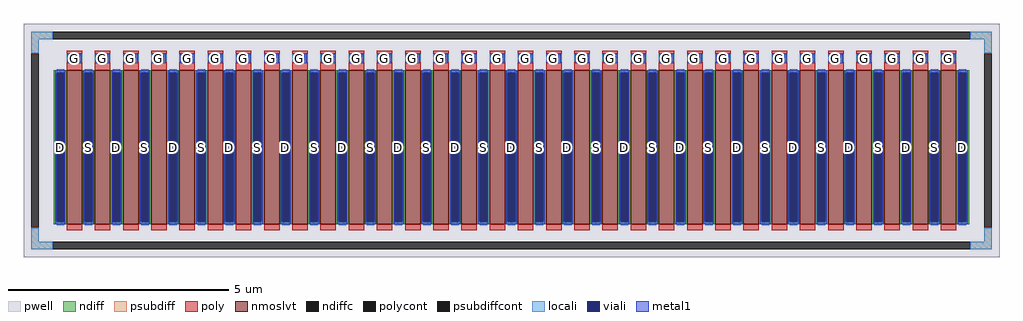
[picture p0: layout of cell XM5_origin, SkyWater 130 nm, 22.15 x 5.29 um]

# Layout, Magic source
magic
tech sky130A
magscale 1 2
<< pwell >>
rect -2215 -529 2215 529
<< nmoslvt >>
rect -2019 -381 -1949 319
rect -1891 -381 -1821 319
rect -1763 -381 -1693 319
rect -1635 -381 -1565 319
rect -1507 -381 -1437 319
rect -1379 -381 -1309 319
rect -1251 -381 -1181 319
rect -1123 -381 -1053 319
rect -995 -381 -925 319
rect -867 -381 -797 319
rect -739 -381 -669 319
rect -611 -381 -541 319
rect -483 -381 -413 319
rect -355 -381 -285 319
rect -227 -381 -157 319
rect -99 -381 -29 319
rect 29 -381 99 319
rect 157 -381 227 319
rect 285 -381 355 319
rect 413 -381 483 319
rect 541 -381 611 319
rect 669 -381 739 319
rect 797 -381 867 319
rect 925 -381 995 319
rect 1053 -381 1123 319
rect 1181 -381 1251 319
rect 1309 -381 1379 319
rect 1437 -381 1507 319
rect 1565 -381 1635 319
rect 1693 -381 1763 319
rect 1821 -381 1891 319
rect 1949 -381 2019 319
<< ndiff >>
rect -2077 307 -2019 319
rect -2077 -369 -2065 307
rect -2031 -369 -2019 307
rect -2077 -381 -2019 -369
rect -1949 307 -1891 319
rect -1949 -369 -1937 307
rect -1903 -369 -1891 307
rect -1949 -381 -1891 -369
rect -1821 307 -1763 319
rect -1821 -369 -1809 307
rect -1775 -369 -1763 307
rect -1821 -381 -1763 -369
rect -1693 307 -1635 319
rect -1693 -369 -1681 307
rect -1647 -369 -1635 307
rect -1693 -381 -1635 -369
rect -1565 307 -1507 319
rect -1565 -369 -1553 307
rect -1519 -369 -1507 307
rect -1565 -381 -1507 -369
rect -1437 307 -1379 319
rect -1437 -369 -1425 307
rect -1391 -369 -1379 307
rect -1437 -381 -1379 -369
rect -1309 307 -1251 319
rect -1309 -369 -1297 307
rect -1263 -369 -1251 307
rect -1309 -381 -1251 -369
rect -1181 307 -1123 319
rect -1181 -369 -1169 307
rect -1135 -369 -1123 307
rect -1181 -381 -1123 -369
rect -1053 307 -995 319
rect -1053 -369 -1041 307
rect -1007 -369 -995 307
rect -1053 -381 -995 -369
rect -925 307 -867 319
rect -925 -369 -913 307
rect -879 -369 -867 307
rect -925 -381 -867 -369
rect -797 307 -739 319
rect -797 -369 -785 307
rect -751 -369 -739 307
rect -797 -381 -739 -369
rect -669 307 -611 319
rect -669 -369 -657 307
rect -623 -369 -611 307
rect -669 -381 -611 -369
rect -541 307 -483 319
rect -541 -369 -529 307
rect -495 -369 -483 307
rect -541 -381 -483 -369
rect -413 307 -355 319
rect -413 -369 -401 307
rect -367 -369 -355 307
rect -413 -381 -355 -369
rect -285 307 -227 319
rect -285 -369 -273 307
rect -239 -369 -227 307
rect -285 -381 -227 -369
rect -157 307 -99 319
rect -157 -369 -145 307
rect -111 -369 -99 307
rect -157 -381 -99 -369
rect -29 307 29 319
rect -29 -369 -17 307
rect 17 -369 29 307
rect -29 -381 29 -369
rect 99 307 157 319
rect 99 -369 111 307
rect 145 -369 157 307
rect 99 -381 157 -369
rect 227 307 285 319
rect 227 -369 239 307
rect 273 -369 285 307
rect 227 -381 285 -369
rect 355 307 413 319
rect 355 -369 367 307
rect 401 -369 413 307
rect 355 -381 413 -369
rect 483 307 541 319
rect 483 -369 495 307
rect 529 -369 541 307
rect 483 -381 541 -369
rect 611 307 669 319
rect 611 -369 623 307
rect 657 -369 669 307
rect 611 -381 669 -369
rect 739 307 797 319
rect 739 -369 751 307
rect 785 -369 797 307
rect 739 -381 797 -369
rect 867 307 925 319
rect 867 -369 879 307
rect 913 -369 925 307
rect 867 -381 925 -369
rect 995 307 1053 319
rect 995 -369 1007 307
rect 1041 -369 1053 307
rect 995 -381 1053 -369
rect 1123 307 1181 319
rect 1123 -369 1135 307
rect 1169 -369 1181 307
rect 1123 -381 1181 -369
rect 1251 307 1309 319
rect 1251 -369 1263 307
rect 1297 -369 1309 307
rect 1251 -381 1309 -369
rect 1379 307 1437 319
rect 1379 -369 1391 307
rect 1425 -369 1437 307
rect 1379 -381 1437 -369
rect 1507 307 1565 319
rect 1507 -369 1519 307
rect 1553 -369 1565 307
rect 1507 -381 1565 -369
rect 1635 307 1693 319
rect 1635 -369 1647 307
rect 1681 -369 1693 307
rect 1635 -381 1693 -369
rect 1763 307 1821 319
rect 1763 -369 1775 307
rect 1809 -369 1821 307
rect 1763 -381 1821 -369
rect 1891 307 1949 319
rect 1891 -369 1903 307
rect 1937 -369 1949 307
rect 1891 -381 1949 -369
rect 2019 307 2077 319
rect 2019 -369 2031 307
rect 2065 -369 2077 307
rect 2019 -381 2077 -369
<< ndiffc >>
rect -2065 -369 -2031 307
rect -1937 -369 -1903 307
rect -1809 -369 -1775 307
rect -1681 -369 -1647 307
rect -1553 -369 -1519 307
rect -1425 -369 -1391 307
rect -1297 -369 -1263 307
rect -1169 -369 -1135 307
rect -1041 -369 -1007 307
rect -913 -369 -879 307
rect -785 -369 -751 307
rect -657 -369 -623 307
rect -529 -369 -495 307
rect -401 -369 -367 307
rect -273 -369 -239 307
rect -145 -369 -111 307
rect -17 -369 17 307
rect 111 -369 145 307
rect 239 -369 273 307
rect 367 -369 401 307
rect 495 -369 529 307
rect 623 -369 657 307
rect 751 -369 785 307
rect 879 -369 913 307
rect 1007 -369 1041 307
rect 1135 -369 1169 307
rect 1263 -369 1297 307
rect 1391 -369 1425 307
rect 1519 -369 1553 307
rect 1647 -369 1681 307
rect 1775 -369 1809 307
rect 1903 -369 1937 307
rect 2031 -369 2065 307
<< psubdiff >>
rect -2179 459 -2083 493
rect 2083 459 2179 493
rect -2179 397 -2145 459
rect 2145 397 2179 459
rect -2179 -459 -2145 -397
rect 2145 -459 2179 -397
rect -2179 -493 -2083 -459
rect 2083 -493 2179 -459
<< psubdiffcont >>
rect -2083 459 2083 493
rect -2179 -397 -2145 397
rect 2145 -397 2179 397
rect -2083 -493 2083 -459
<< poly >>
rect -2019 391 -1949 407
rect -2019 357 -2003 391
rect -1965 357 -1949 391
rect -2019 319 -1949 357
rect -1891 391 -1821 407
rect -1891 357 -1875 391
rect -1837 357 -1821 391
rect -1891 319 -1821 357
rect -1763 391 -1693 407
rect -1763 357 -1747 391
rect -1709 357 -1693 391
rect -1763 319 -1693 357
rect -1635 391 -1565 407
rect -1635 357 -1619 391
rect -1581 357 -1565 391
rect -1635 319 -1565 357
rect -1507 391 -1437 407
rect -1507 357 -1491 391
rect -1453 357 -1437 391
rect -1507 319 -1437 357
rect -1379 391 -1309 407
rect -1379 357 -1363 391
rect -1325 357 -1309 391
rect -1379 319 -1309 357
rect -1251 391 -1181 407
rect -1251 357 -1235 391
rect -1197 357 -1181 391
rect -1251 319 -1181 357
rect -1123 391 -1053 407
rect -1123 357 -1107 391
rect -1069 357 -1053 391
rect -1123 319 -1053 357
rect -995 391 -925 407
rect -995 357 -979 391
rect -941 357 -925 391
rect -995 319 -925 357
rect -867 391 -797 407
rect -867 357 -851 391
rect -813 357 -797 391
rect -867 319 -797 357
rect -739 391 -669 407
rect -739 357 -723 391
rect -685 357 -669 391
rect -739 319 -669 357
rect -611 391 -541 407
rect -611 357 -595 391
rect -557 357 -541 391
rect -611 319 -541 357
rect -483 391 -413 407
rect -483 357 -467 391
rect -429 357 -413 391
rect -483 319 -413 357
rect -355 391 -285 407
rect -355 357 -339 391
rect -301 357 -285 391
rect -355 319 -285 357
rect -227 391 -157 407
rect -227 357 -211 391
rect -173 357 -157 391
rect -227 319 -157 357
rect -99 391 -29 407
rect -99 357 -83 391
rect -45 357 -29 391
rect -99 319 -29 357
rect 29 391 99 407
rect 29 357 45 391
rect 83 357 99 391
rect 29 319 99 357
rect 157 391 227 407
rect 157 357 173 391
rect 211 357 227 391
rect 157 319 227 357
rect 285 391 355 407
rect 285 357 301 391
rect 339 357 355 391
rect 285 319 355 357
rect 413 391 483 407
rect 413 357 429 391
rect 467 357 483 391
rect 413 319 483 357
rect 541 391 611 407
rect 541 357 557 391
rect 595 357 611 391
rect 541 319 611 357
rect 669 391 739 407
rect 669 357 685 391
rect 723 357 739 391
rect 669 319 739 357
rect 797 391 867 407
rect 797 357 813 391
rect 851 357 867 391
rect 797 319 867 357
rect 925 391 995 407
rect 925 357 941 391
rect 979 357 995 391
rect 925 319 995 357
rect 1053 391 1123 407
rect 1053 357 1069 391
rect 1107 357 1123 391
rect 1053 319 1123 357
rect 1181 391 1251 407
rect 1181 357 1197 391
rect 1235 357 1251 391
rect 1181 319 1251 357
rect 1309 391 1379 407
rect 1309 357 1325 391
rect 1363 357 1379 391
rect 1309 319 1379 357
rect 1437 391 1507 407
rect 1437 357 1453 391
rect 1491 357 1507 391
rect 1437 319 1507 357
rect 1565 391 1635 407
rect 1565 357 1581 391
rect 1619 357 1635 391
rect 1565 319 1635 357
rect 1693 391 1763 407
rect 1693 357 1709 391
rect 1747 357 1763 391
rect 1693 319 1763 357
rect 1821 391 1891 407
rect 1821 357 1837 391
rect 1875 357 1891 391
rect 1821 319 1891 357
rect 1949 391 2019 407
rect 1949 357 1965 391
rect 2003 357 2019 391
rect 1949 319 2019 357
rect -2019 -407 -1949 -381
rect -1891 -407 -1821 -381
rect -1763 -407 -1693 -381
rect -1635 -407 -1565 -381
rect -1507 -407 -1437 -381
rect -1379 -407 -1309 -381
rect -1251 -407 -1181 -381
rect -1123 -407 -1053 -381
rect -995 -407 -925 -381
rect -867 -407 -797 -381
rect -739 -407 -669 -381
rect -611 -407 -541 -381
rect -483 -407 -413 -381
rect -355 -407 -285 -381
rect -227 -407 -157 -381
rect -99 -407 -29 -381
rect 29 -407 99 -381
rect 157 -407 227 -381
rect 285 -407 355 -381
rect 413 -407 483 -381
rect 541 -407 611 -381
rect 669 -407 739 -381
rect 797 -407 867 -381
rect 925 -407 995 -381
rect 1053 -407 1123 -381
rect 1181 -407 1251 -381
rect 1309 -407 1379 -381
rect 1437 -407 1507 -381
rect 1565 -407 1635 -381
rect 1693 -407 1763 -381
rect 1821 -407 1891 -381
rect 1949 -407 2019 -381
<< polycont >>
rect -2003 357 -1965 391
rect -1875 357 -1837 391
rect -1747 357 -1709 391
rect -1619 357 -1581 391
rect -1491 357 -1453 391
rect -1363 357 -1325 391
rect -1235 357 -1197 391
rect -1107 357 -1069 391
rect -979 357 -941 391
rect -851 357 -813 391
rect -723 357 -685 391
rect -595 357 -557 391
rect -467 357 -429 391
rect -339 357 -301 391
rect -211 357 -173 391
rect -83 357 -45 391
rect 45 357 83 391
rect 173 357 211 391
rect 301 357 339 391
rect 429 357 467 391
rect 557 357 595 391
rect 685 357 723 391
rect 813 357 851 391
rect 941 357 979 391
rect 1069 357 1107 391
rect 1197 357 1235 391
rect 1325 357 1363 391
rect 1453 357 1491 391
rect 1581 357 1619 391
rect 1709 357 1747 391
rect 1837 357 1875 391
rect 1965 357 2003 391
<< locali >>
rect -2179 459 -2083 493
rect 2083 459 2179 493
rect -2179 397 -2145 459
rect 2145 397 2179 459
rect -2019 357 -2003 391
rect -1965 357 -1949 391
rect -1891 357 -1875 391
rect -1837 357 -1821 391
rect -1763 357 -1747 391
rect -1709 357 -1693 391
rect -1635 357 -1619 391
rect -1581 357 -1565 391
rect -1507 357 -1491 391
rect -1453 357 -1437 391
rect -1379 357 -1363 391
rect -1325 357 -1309 391
rect -1251 357 -1235 391
rect -1197 357 -1181 391
rect -1123 357 -1107 391
rect -1069 357 -1053 391
rect -995 357 -979 391
rect -941 357 -925 391
rect -867 357 -851 391
rect -813 357 -797 391
rect -739 357 -723 391
rect -685 357 -669 391
rect -611 357 -595 391
rect -557 357 -541 391
rect -483 357 -467 391
rect -429 357 -413 391
rect -355 357 -339 391
rect -301 357 -285 391
rect -227 357 -211 391
rect -173 357 -157 391
rect -99 357 -83 391
rect -45 357 -29 391
rect 29 357 45 391
rect 83 357 99 391
rect 157 357 173 391
rect 211 357 227 391
rect 285 357 301 391
rect 339 357 355 391
rect 413 357 429 391
rect 467 357 483 391
rect 541 357 557 391
rect 595 357 611 391
rect 669 357 685 391
rect 723 357 739 391
rect 797 357 813 391
rect 851 357 867 391
rect 925 357 941 391
rect 979 357 995 391
rect 1053 357 1069 391
rect 1107 357 1123 391
rect 1181 357 1197 391
rect 1235 357 1251 391
rect 1309 357 1325 391
rect 1363 357 1379 391
rect 1437 357 1453 391
rect 1491 357 1507 391
rect 1565 357 1581 391
rect 1619 357 1635 391
rect 1693 357 1709 391
rect 1747 357 1763 391
rect 1821 357 1837 391
rect 1875 357 1891 391
rect 1949 357 1965 391
rect 2003 357 2019 391
rect -2065 307 -2031 323
rect -2065 -385 -2031 -369
rect -1937 307 -1903 323
rect -1937 -385 -1903 -369
rect -1809 307 -1775 323
rect -1809 -385 -1775 -369
rect -1681 307 -1647 323
rect -1681 -385 -1647 -369
rect -1553 307 -1519 323
rect -1553 -385 -1519 -369
rect -1425 307 -1391 323
rect -1425 -385 -1391 -369
rect -1297 307 -1263 323
rect -1297 -385 -1263 -369
rect -1169 307 -1135 323
rect -1169 -385 -1135 -369
rect -1041 307 -1007 323
rect -1041 -385 -1007 -369
rect -913 307 -879 323
rect -913 -385 -879 -369
rect -785 307 -751 323
rect -785 -385 -751 -369
rect -657 307 -623 323
rect -657 -385 -623 -369
rect -529 307 -495 323
rect -529 -385 -495 -369
rect -401 307 -367 323
rect -401 -385 -367 -369
rect -273 307 -239 323
rect -273 -385 -239 -369
rect -145 307 -111 323
rect -145 -385 -111 -369
rect -17 307 17 323
rect -17 -385 17 -369
rect 111 307 145 323
rect 111 -385 145 -369
rect 239 307 273 323
rect 239 -385 273 -369
rect 367 307 401 323
rect 367 -385 401 -369
rect 495 307 529 323
rect 495 -385 529 -369
rect 623 307 657 323
rect 623 -385 657 -369
rect 751 307 785 323
rect 751 -385 785 -369
rect 879 307 913 323
rect 879 -385 913 -369
rect 1007 307 1041 323
rect 1007 -385 1041 -369
rect 1135 307 1169 323
rect 1135 -385 1169 -369
rect 1263 307 1297 323
rect 1263 -385 1297 -369
rect 1391 307 1425 323
rect 1391 -385 1425 -369
rect 1519 307 1553 323
rect 1519 -385 1553 -369
rect 1647 307 1681 323
rect 1647 -385 1681 -369
rect 1775 307 1809 323
rect 1775 -385 1809 -369
rect 1903 307 1937 323
rect 1903 -385 1937 -369
rect 2031 307 2065 323
rect 2031 -385 2065 -369
rect -2179 -459 -2145 -397
rect 2145 -459 2179 -397
rect -2179 -493 -2083 -459
rect 2083 -493 2179 -459
<< viali >>
rect -2003 357 -1965 391
rect -1875 357 -1837 391
rect -1747 357 -1709 391
rect -1619 357 -1581 391
rect -1491 357 -1453 391
rect -1363 357 -1325 391
rect -1235 357 -1197 391
rect -1107 357 -1069 391
rect -979 357 -941 391
rect -851 357 -813 391
rect -723 357 -685 391
rect -595 357 -557 391
rect -467 357 -429 391
rect -339 357 -301 391
rect -211 357 -173 391
rect -83 357 -45 391
rect 45 357 83 391
rect 173 357 211 391
rect 301 357 339 391
rect 429 357 467 391
rect 557 357 595 391
rect 685 357 723 391
rect 813 357 851 391
rect 941 357 979 391
rect 1069 357 1107 391
rect 1197 357 1235 391
rect 1325 357 1363 391
rect 1453 357 1491 391
rect 1581 357 1619 391
rect 1709 357 1747 391
rect 1837 357 1875 391
rect 1965 357 2003 391
rect -2065 -369 -2031 307
rect -1937 -369 -1903 307
rect -1809 -369 -1775 307
rect -1681 -369 -1647 307
rect -1553 -369 -1519 307
rect -1425 -369 -1391 307
rect -1297 -369 -1263 307
rect -1169 -369 -1135 307
rect -1041 -369 -1007 307
rect -913 -369 -879 307
rect -785 -369 -751 307
rect -657 -369 -623 307
rect -529 -369 -495 307
rect -401 -369 -367 307
rect -273 -369 -239 307
rect -145 -369 -111 307
rect -17 -369 17 307
rect 111 -369 145 307
rect 239 -369 273 307
rect 367 -369 401 307
rect 495 -369 529 307
rect 623 -369 657 307
rect 751 -369 785 307
rect 879 -369 913 307
rect 1007 -369 1041 307
rect 1135 -369 1169 307
rect 1263 -369 1297 307
rect 1391 -369 1425 307
rect 1519 -369 1553 307
rect 1647 -369 1681 307
rect 1775 -369 1809 307
rect 1903 -369 1937 307
rect 2031 -369 2065 307
<< metal1 >>
rect -2015 391 -1953 397
rect -2015 357 -2003 391
rect -1965 357 -1953 391
rect -2015 351 -1953 357
rect -1887 391 -1825 397
rect -1887 357 -1875 391
rect -1837 357 -1825 391
rect -1887 351 -1825 357
rect -1759 391 -1697 397
rect -1759 357 -1747 391
rect -1709 357 -1697 391
rect -1759 351 -1697 357
rect -1631 391 -1569 397
rect -1631 357 -1619 391
rect -1581 357 -1569 391
rect -1631 351 -1569 357
rect -1503 391 -1441 397
rect -1503 357 -1491 391
rect -1453 357 -1441 391
rect -1503 351 -1441 357
rect -1375 391 -1313 397
rect -1375 357 -1363 391
rect -1325 357 -1313 391
rect -1375 351 -1313 357
rect -1247 391 -1185 397
rect -1247 357 -1235 391
rect -1197 357 -1185 391
rect -1247 351 -1185 357
rect -1119 391 -1057 397
rect -1119 357 -1107 391
rect -1069 357 -1057 391
rect -1119 351 -1057 357
rect -991 391 -929 397
rect -991 357 -979 391
rect -941 357 -929 391
rect -991 351 -929 357
rect -863 391 -801 397
rect -863 357 -851 391
rect -813 357 -801 391
rect -863 351 -801 357
rect -735 391 -673 397
rect -735 357 -723 391
rect -685 357 -673 391
rect -735 351 -673 357
rect -607 391 -545 397
rect -607 357 -595 391
rect -557 357 -545 391
rect -607 351 -545 357
rect -479 391 -417 397
rect -479 357 -467 391
rect -429 357 -417 391
rect -479 351 -417 357
rect -351 391 -289 397
rect -351 357 -339 391
rect -301 357 -289 391
rect -351 351 -289 357
rect -223 391 -161 397
rect -223 357 -211 391
rect -173 357 -161 391
rect -223 351 -161 357
rect -95 391 -33 397
rect -95 357 -83 391
rect -45 357 -33 391
rect -95 351 -33 357
rect 33 391 95 397
rect 33 357 45 391
rect 83 357 95 391
rect 33 351 95 357
rect 161 391 223 397
rect 161 357 173 391
rect 211 357 223 391
rect 161 351 223 357
rect 289 391 351 397
rect 289 357 301 391
rect 339 357 351 391
rect 289 351 351 357
rect 417 391 479 397
rect 417 357 429 391
rect 467 357 479 391
rect 417 351 479 357
rect 545 391 607 397
rect 545 357 557 391
rect 595 357 607 391
rect 545 351 607 357
rect 673 391 735 397
rect 673 357 685 391
rect 723 357 735 391
rect 673 351 735 357
rect 801 391 863 397
rect 801 357 813 391
rect 851 357 863 391
rect 801 351 863 357
rect 929 391 991 397
rect 929 357 941 391
rect 979 357 991 391
rect 929 351 991 357
rect 1057 391 1119 397
rect 1057 357 1069 391
rect 1107 357 1119 391
rect 1057 351 1119 357
rect 1185 391 1247 397
rect 1185 357 1197 391
rect 1235 357 1247 391
rect 1185 351 1247 357
rect 1313 391 1375 397
rect 1313 357 1325 391
rect 1363 357 1375 391
rect 1313 351 1375 357
rect 1441 391 1503 397
rect 1441 357 1453 391
rect 1491 357 1503 391
rect 1441 351 1503 357
rect 1569 391 1631 397
rect 1569 357 1581 391
rect 1619 357 1631 391
rect 1569 351 1631 357
rect 1697 391 1759 397
rect 1697 357 1709 391
rect 1747 357 1759 391
rect 1697 351 1759 357
rect 1825 391 1887 397
rect 1825 357 1837 391
rect 1875 357 1887 391
rect 1825 351 1887 357
rect 1953 391 2015 397
rect 1953 357 1965 391
rect 2003 357 2015 391
rect 1953 351 2015 357
rect -2071 307 -2025 319
rect -2071 -369 -2065 307
rect -2031 -369 -2025 307
rect -2071 -381 -2025 -369
rect -1943 307 -1897 319
rect -1943 -369 -1937 307
rect -1903 -369 -1897 307
rect -1943 -381 -1897 -369
rect -1815 307 -1769 319
rect -1815 -369 -1809 307
rect -1775 -369 -1769 307
rect -1815 -381 -1769 -369
rect -1687 307 -1641 319
rect -1687 -369 -1681 307
rect -1647 -369 -1641 307
rect -1687 -381 -1641 -369
rect -1559 307 -1513 319
rect -1559 -369 -1553 307
rect -1519 -369 -1513 307
rect -1559 -381 -1513 -369
rect -1431 307 -1385 319
rect -1431 -369 -1425 307
rect -1391 -369 -1385 307
rect -1431 -381 -1385 -369
rect -1303 307 -1257 319
rect -1303 -369 -1297 307
rect -1263 -369 -1257 307
rect -1303 -381 -1257 -369
rect -1175 307 -1129 319
rect -1175 -369 -1169 307
rect -1135 -369 -1129 307
rect -1175 -381 -1129 -369
rect -1047 307 -1001 319
rect -1047 -369 -1041 307
rect -1007 -369 -1001 307
rect -1047 -381 -1001 -369
rect -919 307 -873 319
rect -919 -369 -913 307
rect -879 -369 -873 307
rect -919 -381 -873 -369
rect -791 307 -745 319
rect -791 -369 -785 307
rect -751 -369 -745 307
rect -791 -381 -745 -369
rect -663 307 -617 319
rect -663 -369 -657 307
rect -623 -369 -617 307
rect -663 -381 -617 -369
rect -535 307 -489 319
rect -535 -369 -529 307
rect -495 -369 -489 307
rect -535 -381 -489 -369
rect -407 307 -361 319
rect -407 -369 -401 307
rect -367 -369 -361 307
rect -407 -381 -361 -369
rect -279 307 -233 319
rect -279 -369 -273 307
rect -239 -369 -233 307
rect -279 -381 -233 -369
rect -151 307 -105 319
rect -151 -369 -145 307
rect -111 -369 -105 307
rect -151 -381 -105 -369
rect -23 307 23 319
rect -23 -369 -17 307
rect 17 -369 23 307
rect -23 -381 23 -369
rect 105 307 151 319
rect 105 -369 111 307
rect 145 -369 151 307
rect 105 -381 151 -369
rect 233 307 279 319
rect 233 -369 239 307
rect 273 -369 279 307
rect 233 -381 279 -369
rect 361 307 407 319
rect 361 -369 367 307
rect 401 -369 407 307
rect 361 -381 407 -369
rect 489 307 535 319
rect 489 -369 495 307
rect 529 -369 535 307
rect 489 -381 535 -369
rect 617 307 663 319
rect 617 -369 623 307
rect 657 -369 663 307
rect 617 -381 663 -369
rect 745 307 791 319
rect 745 -369 751 307
rect 785 -369 791 307
rect 745 -381 791 -369
rect 873 307 919 319
rect 873 -369 879 307
rect 913 -369 919 307
rect 873 -381 919 -369
rect 1001 307 1047 319
rect 1001 -369 1007 307
rect 1041 -369 1047 307
rect 1001 -381 1047 -369
rect 1129 307 1175 319
rect 1129 -369 1135 307
rect 1169 -369 1175 307
rect 1129 -381 1175 -369
rect 1257 307 1303 319
rect 1257 -369 1263 307
rect 1297 -369 1303 307
rect 1257 -381 1303 -369
rect 1385 307 1431 319
rect 1385 -369 1391 307
rect 1425 -369 1431 307
rect 1385 -381 1431 -369
rect 1513 307 1559 319
rect 1513 -369 1519 307
rect 1553 -369 1559 307
rect 1513 -381 1559 -369
rect 1641 307 1687 319
rect 1641 -369 1647 307
rect 1681 -369 1687 307
rect 1641 -381 1687 -369
rect 1769 307 1815 319
rect 1769 -369 1775 307
rect 1809 -369 1815 307
rect 1769 -381 1815 -369
rect 1897 307 1943 319
rect 1897 -369 1903 307
rect 1937 -369 1943 307
rect 1897 -381 1943 -369
rect 2025 307 2071 319
rect 2025 -369 2031 307
rect 2065 -369 2071 307
rect 2025 -381 2071 -369
<< labels >>
flabel metal1 -1984 374 -1984 374 0 FreeSans 240 0 0 0 G
flabel metal1 -1855 374 -1855 374 0 FreeSans 240 0 0 0 G
flabel metal1 -1728 374 -1728 374 0 FreeSans 240 0 0 0 G
flabel metal1 -1600 374 -1600 374 0 FreeSans 240 0 0 0 G
flabel metal1 -1472 374 -1472 374 0 FreeSans 240 0 0 0 G
flabel metal1 -1344 374 -1344 374 0 FreeSans 240 0 0 0 G
flabel metal1 -1216 374 -1216 374 0 FreeSans 240 0 0 0 G
flabel metal1 -1088 374 -1088 374 0 FreeSans 240 0 0 0 G
flabel metal1 -960 374 -960 374 0 FreeSans 240 0 0 0 G
flabel metal1 -832 374 -832 374 0 FreeSans 240 0 0 0 G
flabel metal1 -704 374 -704 374 0 FreeSans 240 0 0 0 G
flabel metal1 -576 374 -576 374 0 FreeSans 240 0 0 0 G
flabel metal1 -448 374 -448 374 0 FreeSans 240 0 0 0 G
flabel metal1 -320 374 -320 374 0 FreeSans 240 0 0 0 G
flabel metal1 -192 374 -192 374 0 FreeSans 240 0 0 0 G
flabel metal1 -64 374 -64 374 0 FreeSans 240 0 0 0 G
flabel metal1 64 374 64 374 0 FreeSans 240 0 0 0 G
flabel metal1 192 374 192 374 0 FreeSans 240 0 0 0 G
flabel metal1 320 374 320 374 0 FreeSans 240 0 0 0 G
flabel metal1 448 374 448 374 0 FreeSans 240 0 0 0 G
flabel metal1 576 374 576 374 0 FreeSans 240 0 0 0 G
flabel metal1 704 374 704 374 0 FreeSans 240 0 0 0 G
flabel metal1 832 374 832 374 0 FreeSans 240 0 0 0 G
flabel metal1 960 374 960 374 0 FreeSans 240 0 0 0 G
flabel metal1 1088 374 1088 374 0 FreeSans 240 0 0 0 G
flabel metal1 1216 374 1216 374 0 FreeSans 240 0 0 0 G
flabel metal1 1344 374 1344 374 0 FreeSans 240 0 0 0 G
flabel metal1 1472 374 1472 374 0 FreeSans 240 0 0 0 G
flabel metal1 1600 374 1600 374 0 FreeSans 240 0 0 0 G
flabel metal1 1728 374 1728 374 0 FreeSans 240 0 0 0 G
flabel metal1 1855 374 1855 374 0 FreeSans 240 0 0 0 G
flabel metal1 1984 374 1984 374 0 FreeSans 240 0 0 0 G
flabel metal1 -2048 -31 -2048 -31 0 FreeSans 240 0 0 0 D
flabel metal1 -1920 -31 -1920 -31 0 FreeSans 240 0 0 0 S
flabel metal1 -1792 -31 -1792 -31 0 FreeSans 240 0 0 0 D
flabel metal1 -1664 -31 -1664 -31 0 FreeSans 240 0 0 0 S
flabel metal1 -1536 -31 -1536 -31 0 FreeSans 240 0 0 0 D
flabel metal1 -1408 -31 -1408 -31 0 FreeSans 240 0 0 0 S
flabel metal1 -1280 -31 -1280 -31 0 FreeSans 240 0 0 0 D
flabel metal1 -1152 -31 -1152 -31 0 FreeSans 240 0 0 0 S
flabel metal1 -1024 -31 -1024 -31 0 FreeSans 240 0 0 0 D
flabel metal1 -896 -31 -896 -31 0 FreeSans 240 0 0 0 S
flabel metal1 -768 -31 -768 -31 0 FreeSans 240 0 0 0 D
flabel metal1 -640 -31 -640 -31 0 FreeSans 240 0 0 0 S
flabel metal1 -512 -31 -512 -31 0 FreeSans 240 0 0 0 D
flabel metal1 -384 -31 -384 -31 0 FreeSans 240 0 0 0 S
flabel metal1 -256 -31 -256 -31 0 FreeSans 240 0 0 0 D
flabel metal1 -128 -31 -128 -31 0 FreeSans 240 0 0 0 S
flabel metal1 0 -31 0 -31 0 FreeSans 240 0 0 0 D
flabel metal1 128 -31 128 -31 0 FreeSans 240 0 0 0 S
flabel metal1 256 -31 256 -31 0 FreeSans 240 0 0 0 D
flabel metal1 384 -31 384 -31 0 FreeSans 240 0 0 0 S
flabel metal1 512 -31 512 -31 0 FreeSans 240 0 0 0 D
flabel metal1 640 -31 640 -31 0 FreeSans 240 0 0 0 S
flabel metal1 768 -31 768 -31 0 FreeSans 240 0 0 0 D
flabel metal1 896 -31 896 -31 0 FreeSans 240 0 0 0 S
flabel metal1 1024 -31 1024 -31 0 FreeSans 240 0 0 0 D
flabel metal1 1152 -31 1152 -31 0 FreeSans 240 0 0 0 S
flabel metal1 1280 -31 1280 -31 0 FreeSans 240 0 0 0 D
flabel metal1 1408 -31 1408 -31 0 FreeSans 240 0 0 0 S
flabel metal1 1536 -31 1536 -31 0 FreeSans 240 0 0 0 D
flabel metal1 1664 -31 1664 -31 0 FreeSans 240 0 0 0 S
flabel metal1 1792 -31 1792 -31 0 FreeSans 240 0 0 0 D
flabel metal1 1920 -31 1920 -31 0 FreeSans 240 0 0 0 S
flabel metal1 2048 -31 2048 -31 0 FreeSans 240 0 0 0 D
<< properties >>
string FIXED_BBOX -2162 -476 2162 476
<< end >>
